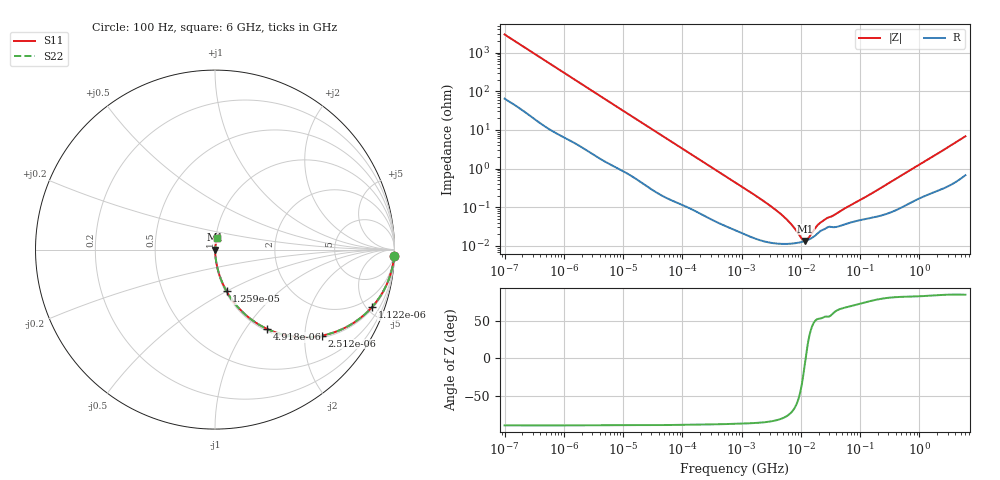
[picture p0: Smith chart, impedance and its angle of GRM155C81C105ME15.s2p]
!Murata Part Number: GRM155C81C105ME15
!These Parameters are Measured in Series Mode Connection
!Data Generated on Mar 30, 2021
!  o--ll--o
!Port1  Port2
!  o------o
!Operation Temp=25[degC], DC Bias Voltage=0[V]
!Freq. Start=100[Hz] Stop=6[GHz] 401[Steps]
# Hz S RI R 50
!Freq.(Hz) S11(Real) S11(Imag) S21(Real) S21(Imag) S12(Real) S12(Imag) S22(Real) S22(Imag)
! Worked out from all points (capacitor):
!   401 points, 100 Hz to 6 GHz, reference 50 ohm
!   read as one part in series: C = 539 nF near 109 Hz
!   lowest |Z| = 13.5 mohm at 11.89 MHz (marker M1)
!   series resonance near 12.05 MHz, so ESL is about 320 pH
!   S11 on the Smith chart (normalised r, x): 100 Hz: 2, -59; 1.122 kHz: 1.12, -5.40; 2.512 kHz: 1.06, -2.44; 4.918 kHz: 1.03, -1.26; 12.59 kHz: 1.01, -0.50; 6 GHz: 1.01, +0.14
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100  0.9981 -0.0339  0.00189 0.0339  0.00189 0.0339  0.9981 -0.0339
383  0.9815 -0.1251  0.0185 0.1251  0.0185 0.1251  0.9815 -0.1251
1122  0.8743 -0.3208  0.1257 0.3208  0.1257 0.3208  0.8743 -0.3208
2008  0.6948 -0.449  0.3052 0.449  0.3052 0.449  0.6948 -0.449
2512  0.5969 -0.479  0.4031 0.479  0.4031 0.479  0.5969 -0.479
3437  0.4474 -0.4856  0.5526 0.4856  0.5526 0.4856  0.4474 -0.4856
4918  0.289 -0.4414  0.711 0.4414  0.711 0.4414  0.289 -0.4414
7695  0.1476 -0.342  0.8524 0.342  0.8524 0.342  0.1476 -0.342
12592  0.0646 -0.2323  0.9354 0.2323  0.9354 0.2323  0.0646 -0.2323
40335  0.00846 -0.0788  0.9915 0.0788  0.9915 0.0788  0.00846 -0.0788
129199  0.0016 -0.0253  0.9984 0.0253  0.9984 0.0253  0.0016 -0.0253
774597  0.000274 -0.00441  0.9997 0.00441  0.9997 0.00441  0.000274 -0.00441
4246196  0.000114 -0.000729  0.9999 0.000729  0.9999 0.000729  0.000114 -0.000729
6644369  0.000114 -0.00037  0.9999 0.00037  0.9999 0.00037  0.000114 -0.00037
1.039699e7  0.000127 -8.68e-05  0.9999 8.68e-05  0.9999 8.68e-05  0.000127 -8.68e-05
1.189169e7  0.000135 -7.8e-06  0.9999 7.8e-06  0.9999 7.8e-06  0.000135 -7.8e-06
1.300572e7  0.000142 4.46e-05  0.9999 -4.46e-05  0.9999 -4.46e-05  0.000142 4.46e-05
1.555665e7  0.000163 0.00015  0.9998 -0.00015  0.9998 -0.00015  0.000163 0.00015
1.946e7  0.000215 0.000278  0.9998 -0.000278  0.9998 -0.000278  0.000215 0.000278
2.545746e7  0.000274 0.000394  0.9997 -0.000394  0.9997 -0.000394  0.000274 0.000394
3.124326e8  0.00073 0.00423  0.9993 -0.00423  0.9993 -0.00423  0.00073 0.00423
6e9  0.0112 0.0668  0.9888 -0.0668  0.9888 -0.0668  0.0112 0.0668
